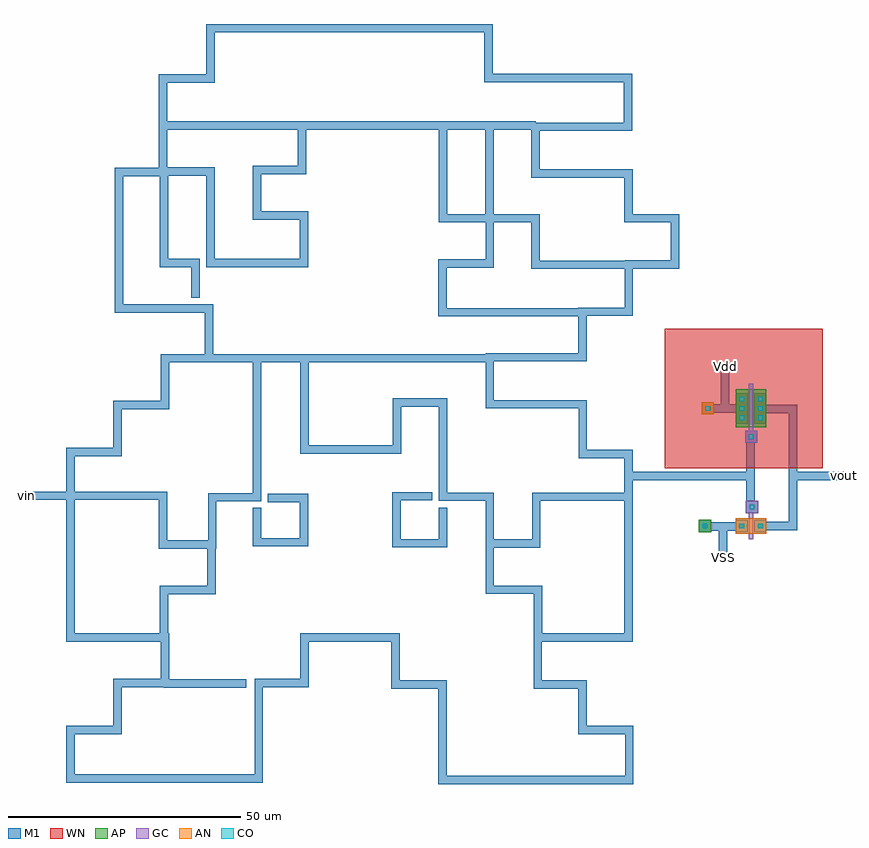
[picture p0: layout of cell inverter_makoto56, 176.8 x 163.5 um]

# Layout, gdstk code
import gdstk
lib = gdstk.Library(unit=1e-6, precision=1e-07)
def R(c, l, rs):  # rectangles x0, y0, x1, y1
    for r in rs: c.add(gdstk.rectangle(r[:2], r[2:], *l))
def A(c, l, x, y, w, h, nx, ny, dx, dy):  # array of equal rectangles
    R(c, l, [(x+i*dx, y+j*dy, x+i*dx+w, y+j*dy+h) for i in range(nx) for j in range(ny)])
AP = (3, 1)
AN = (3, 2)
GC = (8, 1)
CO = (11, 0)
M1 = (13, 0)
WN = (140, 0)

fet_p = lib.new_cell('fet_p')
R(fet_p, AP, [(-3.3,-4.1,3.3,4.1)])
A(fet_p, CO, -2.5, -2.5, 1, 1, 1, 3, 0, 2)
A(fet_p, CO, 1.5, -2.5, 1, 1, 1, 3, 0, 2)
R(fet_p, M1, [(-3.3,-3.3,-0.7,3.3), (0.7,-3.3,3.3,3.3)])
fet_p.add(gdstk.FlexPath([(0,-5.3),(0,5.3)], 1, ends="flush", simple_path=True, layer=8, datatype=1))  # GC

cont_n = lib.new_cell('cont_n')
R(cont_n, AN, [(-1.3,-1.3,1.3,1.3)])
R(cont_n, CO, [(-0.5,-0.5,0.5,0.5)])
R(cont_n, M1, [(-1.3,-1.3,1.3,1.3)])

fet_n = lib.new_cell('fet_n')
R(fet_n, AN, [(-3.3,-1.7,3.3,1.7)])
R(fet_n, CO, [(-2.5,-0.5,-1.5,0.5), (1.5,-0.5,2.5,0.5)])
R(fet_n, M1, [(-3.3,-1.3,-0.7,1.3), (0.7,-1.3,3.3,1.3)])
fet_n.add(gdstk.FlexPath([(0,-2.9),(0,2.9)], 1, ends="flush", simple_path=True, layer=8, datatype=1))  # GC

cont_g = lib.new_cell('cont_g')
R(cont_g, GC, [(-1.3,-1.3,1.3,1.3)])
R(cont_g, CO, [(-0.5,-0.5,0.5,0.5)])
R(cont_g, M1, [(-1.3,-1.3,1.3,1.3)])

cont_p = lib.new_cell('cont_p')
R(cont_p, AP, [(-1.3,-1.3,1.3,1.3)])
R(cont_p, CO, [(-0.5,-0.5,0.5,0.5)])
R(cont_p, M1, [(-1.3,-1.3,1.3,1.3)])

inverter_makoto56 = lib.new_cell('inverter_makoto56')
R(inverter_makoto56, WN, [(-12.3,-14,21.7,16)])
inverter_makoto56.add(gdstk.FlexPath([(6.1,-15.6),(-20.2,-15.6)], 1.8, ends="flush", simple_path=True, layer=13, datatype=0))  # M1
inverter_makoto56.add(gdstk.FlexPath([(-100,9.5),(-100,-20.2),(-109.6,-20.2),(-109.6,-30.4),(-120.2,-30.4),(-120.2,-19.9),(-150.2,-19.9)], 1.8, ends="flush", simple_path=True, layer=13, datatype=0))  # M1
inverter_makoto56.add(gdstk.FlexPath([(-90.3,59.7),(-90.3,50.2),(-100,50.2),(-100,40.4),(-89.9,40.4),(-89.9,30.2),(-110,30.2),(-110,49.9),(-120,49.9),(-120,30.2),(-113.2,30.2),(-113.2,22.7)], 1.8, ends="flush", simple_path=True, layer=13, datatype=0))  # M1
inverter_makoto56.add(gdstk.FlexPath([(-100,-22.5),(-100,-29.9),(-89.9,-29.9),(-89.9,-20.4),(-97.7,-20.4)], 1.8, ends="flush", simple_path=True, layer=13, datatype=0))  # M1
inverter_makoto56.add(gdstk.FlexPath([(-60,-22.5),(-60,-30.1),(-70,-30.1),(-70,-20),(-62.3,-20)], 1.8, ends="flush", simple_path=True, layer=13, datatype=0))  # M1
inverter_makoto56.add(gdstk.FlexPath([(-120,-60.3),(-102.3,-60.3)], 1.8, ends="flush", simple_path=True, layer=13, datatype=0))  # M1
inverter_makoto56.add(gdstk.FlexPath([(-1.8,-1.1),(3.4,-1.1)], 1.8, ends="flush", simple_path=True, layer=13, datatype=0))  # M1
inverter_makoto56.add(gdstk.FlexPath([(0.7,-0.7),(0.7,8.4)], 1.8, ends="flush", simple_path=True, layer=13, datatype=0))  # M1
inverter_makoto56.add(gdstk.FlexPath([(-2.5,-26.5),(3.2,-26.5)], 1.8, ends="flush", simple_path=True, layer=13, datatype=0))  # M1
inverter_makoto56.add(gdstk.FlexPath([(0.3,-26.9),(0.3,-33.3)], 1.8, ends="flush", simple_path=True, layer=13, datatype=0))  # M1
inverter_makoto56.add(gdstk.FlexPath([(14.8,-15.6),(26.6,-15.6)], 1.8, ends="flush", simple_path=True, layer=13, datatype=0))  # M1
inverter_makoto56.add(gdstk.FlexPath([(6.2,-8),(6.2,-21.5)], 1.8, ends="flush", simple_path=True, layer=13, datatype=0))  # M1
inverter_makoto56.add(gdstk.FlexPath([(9,-1.2),(15.3,-1.2),(15.3,-26.4),(9.1,-26.4)], 1.8, ends="flush", simple_path=True, layer=13, datatype=0))  # M1
inverter_makoto56.add(gdstk.FlexPath([(-109.8,80.7),(-50.2,80.7),(-50.2,70),(-20.2,70),(-20.2,59.5),(-40.1,59.5),(-40.1,49.4),(-20.1,49.4),(-20.1,39.8),(-10.1,39.8),(-10.1,29.9),(-20,29.9),(-20,19.7),(-30,19.7),(-30,9.9),(-49.9,9.9),(-49.9,-0.2),(-29.9,-0.2),(-29.9,-10.9),(-20.1,-10.9),(-20.1,-50.4),(-39.6,-50.4),(-39.6,-60.5),(-30,-60.5),(-30,-70.3),(-19.9,-70.3),(-19.9,-81),(-60.1,-81),(-60.1,-60.5),(-70.2,-60.5),(-70.2,-50.4),(-89.8,-50.4),(-89.8,-60.2),(-99.6,-60.2),(-99.6,-80.7),(-140.1,-80.7),(-140.1,-70.3),(-130,-70.3),(-130,-60.2),(-119.8,-60.2),(-119.8,-50.4),(-140.1,-50.4),(-140.1,-10.5),(-130,-10.5),(-130,-0.4),(-119.8,-0.4),(-119.8,9.7),(-110.3,9.7),(-110.3,20.4),(-129.7,20.4),(-129.7,49.8),(-120.2,49.8),(-120.2,69.9),(-110,69.9),(-110,80.7),(-109.8,80.7)], 1.8, ends="flush", simple_path=True, layer=13, datatype=0))  # M1
inverter_makoto56.add(gdstk.FlexPath([(-120.2,59.8),(-40,59.8)], 1.8, ends="flush", simple_path=True, layer=13, datatype=0))  # M1
inverter_makoto56.add(gdstk.FlexPath([(-50,59.8),(-50,39.8),(-60,39.8),(-60,59.7),(-60,59.7)], 1.8, ends="flush", simple_path=True, layer=13, datatype=0))  # M1
inverter_makoto56.add(gdstk.FlexPath([(-20,29.8),(-40.1,29.8),(-40.1,39.8),(-49.9,39.8),(-49.9,30.1),(-60.1,30.1),(-60.1,19.6),(-30.1,19.6)], 1.8, ends="flush", simple_path=True, layer=13, datatype=0))  # M1
inverter_makoto56.add(gdstk.FlexPath([(-110.3,9.7),(-49.2,9.7)], 1.8, ends="flush", simple_path=True, layer=13, datatype=0))  # M1
inverter_makoto56.add(gdstk.FlexPath([(-109.8,-30),(-109.8,-40.2),(-120,-40.2),(-120,-50.4)], 1.8, ends="flush", simple_path=True, layer=13, datatype=0))  # M1
inverter_makoto56.add(gdstk.FlexPath([(-89.8,9.7),(-89.8,-9.9),(-69.9,-9.9),(-69.9,0.2),(-60,0.2),(-60,-20.1),(-49.9,-20.1),(-49.9,-30.2),(-39.9,-30.2),(-39.9,-20.1),(-19.9,-20.1)], 1.8, ends="flush", simple_path=True, layer=13, datatype=0))  # M1
inverter_makoto56.add(gdstk.FlexPath([(-49.9,-30),(-49.9,-40.1),(-39.5,-40.1),(-39.5,-50.8)], 1.8, ends="flush", simple_path=True, layer=13, datatype=0))  # M1
inverter_makoto56.add(gdstk.Reference(fet_p, (6.3,-1.1)))
inverter_makoto56.add(gdstk.Reference(cont_n, (-3,-1.1)))
inverter_makoto56.add(gdstk.Reference(fet_n, (6.3,-26.4)))
inverter_makoto56.add(gdstk.Reference(cont_g, (6.3,-7.2)))
inverter_makoto56.add(gdstk.Reference(cont_g, (6.5,-22.3)))
inverter_makoto56.add(gdstk.Reference(cont_p, (-3.6,-26.4)))
inverter_makoto56.add(gdstk.Label('vin', (-149.6,-19.9), layer=48, texttype=0))
inverter_makoto56.add(gdstk.Label('Vdd', (0.9,7.9), layer=48, texttype=0))
inverter_makoto56.add(gdstk.Label('VSS', (0.3,-33.1), layer=48, texttype=0))
inverter_makoto56.add(gdstk.Label('vout', (26.4,-15.5), layer=48, texttype=0))

lib.write_gds('inverter_makoto56.gds')
